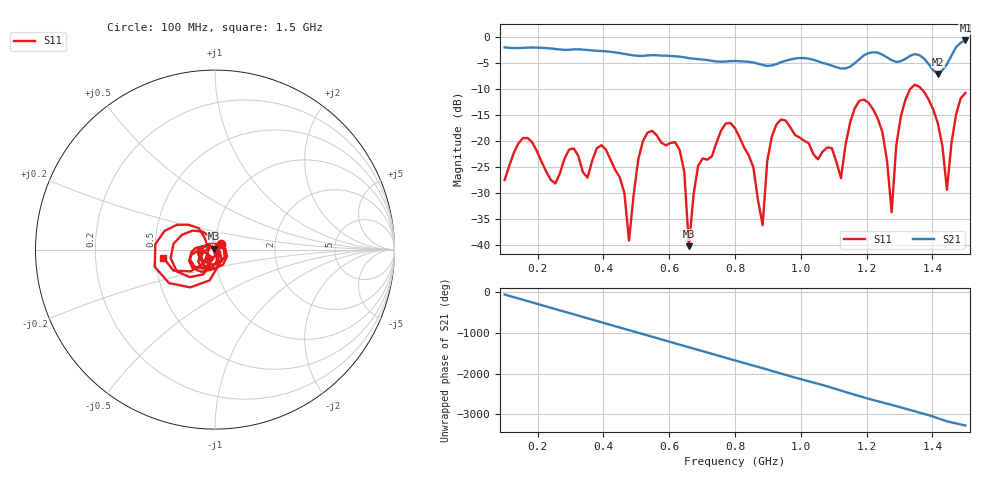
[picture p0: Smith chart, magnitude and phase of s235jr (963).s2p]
! NanoVNA-App
! Date: 2025-09-25 15:11:40
! Start: 100MHz Stop: 1,5GHz Points: 101
! S-Parameter data: F S11 S21 S12 S22
# Hz S RI R 50
!  Frequency  S11_Real  S11_Imag  S21_Real  S21_Imag  S12_Real  S12_Imag  S22_Real  S22_Imag
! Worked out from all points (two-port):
!   101 points, 100 MHz to 1.5 GHz, reference 50 ohm
!   highest |S21| = -0.62 dB at 1.5 GHz (marker M1); lowest = -7.0 dB at 1.416 GHz (marker M2)
!   |S21| within 3 dB of the highest: start of sweep to 604.2 MHz; 1.189 GHz to 1.255 GHz (65.94 MHz wide, 5.4 % of centre) (the widest 2 of 4)
!   lowest |S11| = -40.2 dB at 660 MHz (marker M3), VSWR 1.02, Z = 49.2 + j0.56 ohm
!   |S11| at or under -10 dB: start of sweep to 1.332 GHz; 1.367 GHz to end of sweep
!   S12 and S22 are empty: the file has one direction only
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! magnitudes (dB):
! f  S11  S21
! 100 MHz  -27.5  -2.0
! 156 MHz  -19.4  -2.0
! 338 MHz  -26.0  -2.4
! 408 MHz  -21.6  -2.7
! 478 MHz  -39.1  -3.4
! 520 MHz  -20.0  -3.6
! 576 MHz  -20.3  -3.6
! 632 MHz  -21.7  -3.7
! 660 MHz  -40.2  -4.0
! 688 MHz  -24.7  -4.2
! 800 MHz  -17.5  -4.6
! 884 MHz  -36.1  -5.3
! 926 MHz  -16.8  -5.2
! 1.038 GHz  -22.5  -4.3
! 1.122 GHz  -27.1  -6.0
! 1.206 GHz  -12.6  -3.0
! 1.248 GHz  -18.3  -3.4
! 1.276 GHz  -33.7  -4.4
! 1.332 GHz  -10.0  -3.6
! 1.416 GHz  -16.5  -7.0
! 1.444 GHz  -29.3  -5.2
! 1.5 GHz  -10.7  -0.6
